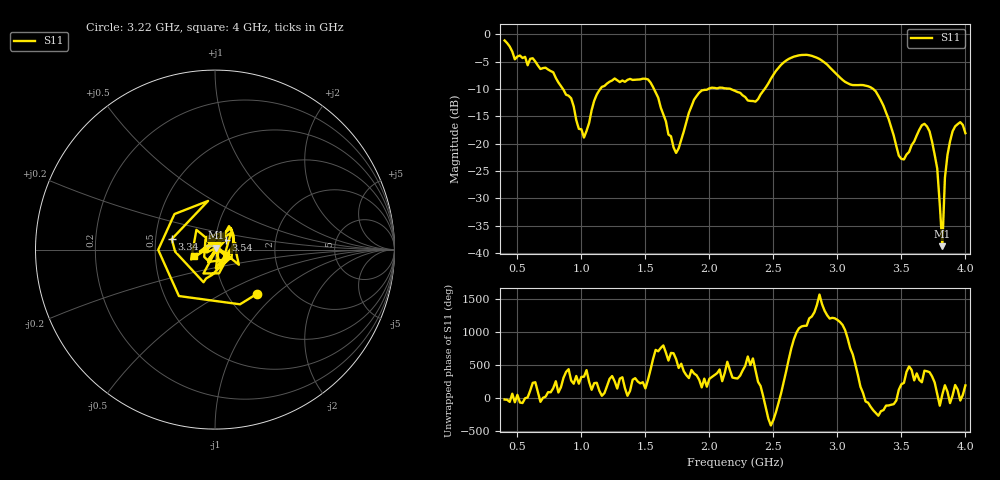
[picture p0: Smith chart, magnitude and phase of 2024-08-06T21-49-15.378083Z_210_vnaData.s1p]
!Created with skrf (http://scikit-rf.org).
# Hz S RI R 50.0
!freq ReS11 ImS11
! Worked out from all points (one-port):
!   181 points, 400 MHz to 4 GHz, reference 50 ohm
!   lowest |S11| = -38.7 dB at 3.82 GHz (marker M1), VSWR 1.02, Z = 50.6 + j1.01 ohm
!   |S11| at or under -10 dB: 855.9 MHz to 1.147 GHz (291.5 MHz wide, 29.1 % of centre); 1.567 GHz to 1.991 GHz (423.4 MHz wide, 23.8 % of centre); 3.28 GHz to end of sweep (the widest 3 of 4)
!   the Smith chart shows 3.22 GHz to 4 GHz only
!   S11 on the Smith chart (normalised r, x): 3.22 GHz: 1.36, -0.76; 3.34 GHz: 0.61, +0.08; 3.54 GHz: 1.12, +0.12; 4 GHz: 0.78, -0.06
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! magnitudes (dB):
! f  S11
! 400 MHz  -1.1
! 480 MHz  -4.6
! 860 MHz  -10.1
! 1.02 GHz  -18.9
! 1.14 GHz  -10.2
! 1.3 GHz  -8.7
! 1.52 GHz  -8.2
! 1.72 GHz  -20.7
! 1.76 GHz  -20.8
! 1.92 GHz  -10.7
! 2.2 GHz  -10.3
! 2.36 GHz  -12.3
! 2.66 GHz  -4.1
! 2.86 GHz  -4.5
! 3.1 GHz  -9.2
! 3.22 GHz  -9.4
! 3.34 GHz  -12.1
! 3.48 GHz  -22.2
! 3.54 GHz  -22.0
! 3.56 GHz  -21.5
! 3.66 GHz  -16.6
! 3.72 GHz  -17.7
! 3.78 GHz  -24.5
! 3.82 GHz  -38.7
! 3.84 GHz  -26.2
! 3.88 GHz  -19.6
! 3.96 GHz  -16.1
! 4 GHz  -18.1
